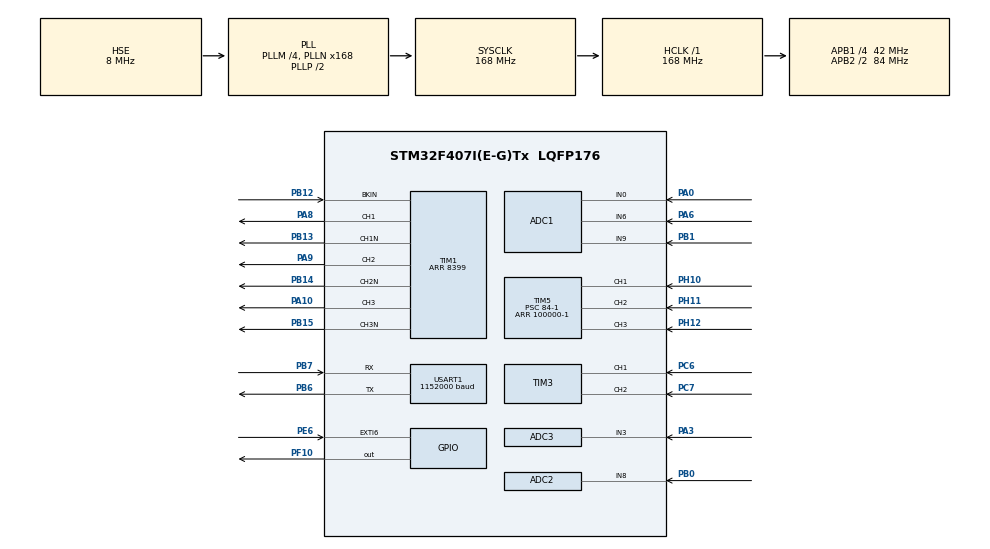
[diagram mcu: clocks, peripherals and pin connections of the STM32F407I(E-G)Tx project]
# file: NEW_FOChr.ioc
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ADC1.Channel-0\#ChannelRegularConversion=ADC_CHANNEL_0
ADC1.Channel-2\#ChannelInjectedConversion=ADC_CHANNEL_6
ADC1.Channel-3\#ChannelRegularConversion=ADC_CHANNEL_9
ADC1.ContinuousConvMode=ENABLE
ADC1.DMAContinuousRequests=ENABLE
ADC1.ExternalTrigConv=ADC_SOFTWARE_START
ADC1.ExternalTrigInjecConv=ADC_EXTERNALTRIGINJECCONV_T1_CC4
ADC1.InjNumberOfConversion=1
ADC1.InjectedOffset-2\#ChannelInjectedConversion=0
ADC1.InjectedRank-2\#ChannelInjectedConversion=1
ADC1.Mode=ADC_TRIPLEMODE_INJECSIMULT
ADC1.NbrOfConversion=2
ADC1.NbrOfConversionFlag=1
ADC1.Rank-0\#ChannelRegularConversion=1
ADC1.Rank-3\#ChannelRegularConversion=2
ADC1.SamplingTime-0\#ChannelRegularConversion=ADC_SAMPLETIME_84CYCLES
ADC1.SamplingTime-2\#ChannelInjectedConversion=ADC_SAMPLETIME_3CYCLES
ADC1.SamplingTime-3\#ChannelRegularConversion=ADC_SAMPLETIME_84CYCLES
ADC1.ScanConvMode=ENABLE
ADC1.master=1
ADC2.Channel-0\#ChannelRegularConversion=ADC_CHANNEL_8
ADC2.Channel-1\#ChannelInjectedConversion=ADC_CHANNEL_8
ADC2.InjNumberOfConversion=1
ADC2.InjectedOffset-1\#ChannelInjectedConversion=0
ADC2.InjectedRank-1\#ChannelInjectedConversion=1
ADC2.Mode=ADC_TRIPLEMODE_INJECSIMULT
ADC2.NbrOfConversionFlag=1
ADC2.Rank-0\#ChannelRegularConversion=1
ADC2.SamplingTime-0\#ChannelRegularConversion=ADC_SAMPLETIME_3CYCLES
ADC2.SamplingTime-1\#ChannelInjectedConversion=ADC_SAMPLETIME_3CYCLES
ADC2.ScanConvMode=ENABLE
ADC3.Channel-0\#ChannelRegularConversion=ADC_CHANNEL_3
ADC3.Channel-1\#ChannelInjectedConversion=ADC_CHANNEL_3
ADC3.InjNumberOfConversion=1
ADC3.InjectedOffset-1\#ChannelInjectedConversion=0
ADC3.InjectedRank-1\#ChannelInjectedConversion=1
ADC3.Mode=ADC_TRIPLEMODE_INJECSIMULT
ADC3.NbrOfConversionFlag=1
ADC3.Rank-0\#ChannelRegularConversion=1
ADC3.SamplingTime-0\#ChannelRegularConversion=ADC_SAMPLETIME_3CYCLES
ADC3.SamplingTime-1\#ChannelInjectedConversion=ADC_SAMPLETIME_3CYCLES
ADC3.ScanConvMode=ENABLE
Dma.ADC1.0.Direction=DMA_PERIPH_TO_MEMORY
Dma.ADC1.0.FIFOMode=DMA_FIFOMODE_DISABLE
Dma.ADC1.0.Instance=DMA2_Stream0
Dma.ADC1.0.MemDataAlignment=DMA_MDATAALIGN_HALFWORD
Dma.ADC1.0.MemInc=DMA_MINC_ENABLE
Dma.ADC1.0.Mode=DMA_CIRCULAR
Dma.ADC1.0.PeriphDataAlignment=DMA_PDATAALIGN_HALFWORD
Dma.ADC1.0.PeriphInc=DMA_PINC_DISABLE
Dma.ADC1.0.Priority=DMA_PRIORITY_LOW
Dma.Request0=ADC1
Mcu.Family=STM32F4
Mcu.Name=STM32F407I(E-G)Tx
Mcu.Package=LQFP176
NVIC.ADC_IRQn=true\:1\:0\:true\:false\:true\:true\:true\:true
NVIC.DMA2_Stream0_IRQn=true\:2\:0\:true\:false\:true\:false\:true\:true
NVIC.EXTI9_5_IRQn=true\:2\:0\:true\:false\:true\:true\:true\:true
NVIC.PriorityGroup=NVIC_PRIORITYGROUP_4
NVIC.TIM5_IRQn=true\:2\:0\:true\:false\:true\:true\:true\:true
PA0-WKUP.Signal=ADCx_IN0
PA10.Signal=S_TIM1_CH3
PA13.Mode=Serial_Wire
PA13.Signal=SYS_JTMS-SWDIO
PA14.Mode=Serial_Wire
PA14.Signal=SYS_JTCK-SWCLK
PA3.Signal=ADCx_IN3
PA6.Signal=ADCx_IN6
PA8.Signal=S_TIM1_CH1
PA9.Signal=S_TIM1_CH2
PB0.Signal=ADCx_IN8
PB1.Signal=ADCx_IN9
PB12.GPIO_PuPd=GPIO_PULLDOWN
PB12.Mode=Activate-Break-Input
PB12.Signal=TIM1_BKIN
PB13.Mode=PWM Generation1 CH1 CH1N
PB13.Signal=TIM1_CH1N
PB14.Mode=PWM Generation2 CH2 CH2N
PB14.Signal=TIM1_CH2N
PB15.Mode=PWM Generation3 CH3 CH3N
PB15.Signal=TIM1_CH3N
PB6.Mode=Asynchronous
PB6.Signal=USART1_TX
PB7.Mode=Asynchronous
PB7.Signal=USART1_RX
PC6.Signal=S_TIM3_CH1
PC7.Signal=S_TIM3_CH2
PE6.GPIO_PuPd=GPIO_PULLDOWN
PE6.Signal=GPXTI6
PF10.PinState=GPIO_PIN_SET
PF10.Signal=GPIO_Output
PH0-OSC_IN.Mode=HSE-External-Oscillator
PH0-OSC_IN.Signal=RCC_OSC_IN
PH1-OSC_OUT.Mode=HSE-External-Oscillator
PH1-OSC_OUT.Signal=RCC_OSC_OUT
PH10.Signal=S_TIM5_CH1
PH11.Signal=S_TIM5_CH2
PH12.Signal=S_TIM5_CH3
ProjectManager.HeapSize=0x200
ProjectManager.StackSize=0x400
ProjectManager.TargetToolchain=MDK-ARM V5.32
RCC.48MHZClocksFreq_Value=84000000
RCC.AHBFreq_Value=168000000
RCC.APB1CLKDivider=RCC_HCLK_DIV4
RCC.APB1Freq_Value=42000000
RCC.APB1TimFreq_Value=84000000
RCC.APB2CLKDivider=RCC_HCLK_DIV2
RCC.APB2Freq_Value=84000000
RCC.APB2TimFreq_Value=168000000
RCC.CortexFreq_Value=168000000
RCC.HCLKFreq_Value=168000000
RCC.HSE_VALUE=8000000
RCC.HSI_VALUE=16000000
RCC.LSE_VALUE=32768
RCC.PLLM=4
RCC.PLLN=168
RCC.PLLSourceVirtual=RCC_PLLSOURCE_HSE
RCC.SYSCLKFreq_VALUE=168000000
RCC.SYSCLKSource=RCC_SYSCLKSOURCE_PLLCLK
RCC.VCOOutputFreq_Value=336000000
SH.ADCx_IN0.0=ADC1_IN0,IN0
SH.ADCx_IN3.0=ADC3_IN3,IN3
SH.ADCx_IN6.0=ADC1_IN6,IN6
SH.ADCx_IN8.0=ADC2_IN8,IN8
SH.ADCx_IN9.0=ADC1_IN9,IN9
SH.S_TIM1_CH1.0=TIM1_CH1,PWM Generation1 CH1 CH1N
SH.S_TIM1_CH2.0=TIM1_CH2,PWM Generation2 CH2 CH2N
SH.S_TIM1_CH3.0=TIM1_CH3,PWM Generation3 CH3 CH3N
SH.S_TIM3_CH1.0=TIM3_CH1,Encoder_Interface
SH.S_TIM3_CH2.0=TIM3_CH2,Encoder_Interface
SH.S_TIM5_CH1.0=TIM5_CH1,Xored_Inputs_Hall_Sensor_Interface
SH.S_TIM5_CH2.0=TIM5_CH2,Xored_Inputs_Hall_Sensor_Interface
SH.S_TIM5_CH3.0=TIM5_CH3,Xored_Inputs_Hall_Sensor_Interface
TIM1.AutomaticOutput=TIM_AUTOMATICOUTPUT_ENABLE
TIM1.Channel-PWM\ Generation1\ CH1\ CH1N=TIM_CHANNEL_1
TIM1.Channel-PWM\ Generation2\ CH2\ CH2N=TIM_CHANNEL_2
TIM1.Channel-PWM\ Generation3\ CH3\ CH3N=TIM_CHANNEL_3
TIM1.Channel-PWM\ Generation4\ No\ Output=TIM_CHANNEL_4
TIM1.CounterMode=TIM_COUNTERMODE_CENTERALIGNED1
TIM1.DeadTime=100
TIM1.OCIdleState_1=TIM_OCIDLESTATE_RESET
TIM1.OCIdleState_2=TIM_OCIDLESTATE_RESET
TIM1.OCIdleState_3=TIM_OCIDLESTATE_RESET
TIM1.OCNIdleState_1=TIM_OCNIDLESTATE_RESET
TIM1.OCNPolarity_1=TIM_OCNPOLARITY_HIGH
TIM1.OCPolarity_1=TIM_OCPOLARITY_HIGH
TIM1.OffStateIDLEMode=TIM_OSSI_ENABLE
TIM1.OffStateRunMode=TIM_OSSR_ENABLE
TIM1.Period=8399
TIM1.Pulse-PWM\ Generation4\ No\ Output=8390
TIM3.EncoderMode=TIM_ENCODERMODE_TI12
TIM5.Period=100000-1
TIM5.Prescaler=84-1
USART1.BaudRate=1152000
USART1.VirtualMode=VM_ASYNC
VP_TIM1_VS_no_output4.Mode=PWM Generation4 No Output
board=custom

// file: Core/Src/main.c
/* USER CODE BEGIN Header */
/**
  ******************************************************************************
  * @file           : main.c
  * @brief          : Main program body
  ******************************************************************************
  * @attention
  *
  * Copyright (c) 2026 STMicroelectronics.
  * All rights reserved.
  *
  * This software is licensed under terms that can be found in the LICENSE file
  * in the root directory of this software component.
  * If no LICENSE file comes with this software, it is provided AS-IS.
  *
  ******************************************************************************
  */
/* USER CODE END Header */
#include "main.h"
#include "adc.h"
#include "dma.h"
#include "tim.h"
#include "usart.h"
#include "gpio.h"
#include "if_drag.h"
/* USER CODE BEGIN Includes */
#include "pmsm.h"
#include "encoder.h"
#include "foc.h"
#include "key.h"
#include "hall.h"
#include "pid.h"
#include "smo.h"
/* USER CODE END Includes */

/* USER CODE BEGIN PV */
uint16_t ADC_DMABuff[2];
uint8_t dir_change_req = 0;   /* KEY1换向请求标志: 1=正在减速等待换向 */
/* USER CODE END PV */

void SystemClock_Config(void);

int main(void)
{

  /* USER CODE BEGIN 1 */
	uint8_t key;
  /* USER CODE END 1 */

  /* MCU Configuration--------------------------------------------------------*/

  /* Reset of all peripherals, Initializes the Flash interface and the Systick. */
  HAL_Init();

  /* Configure the system clock */
  SystemClock_Config();

  /* Initialize all configured peripherals */
  MX_GPIO_Init();
  MX_DMA_Init();
  MX_TIM1_Init();
  MX_ADC1_Init();
  MX_ADC2_Init();
  MX_ADC3_Init();
  MX_USART1_UART_Init();
  MX_TIM5_Init();
  MX_TIM3_Init();
  /* USER CODE BEGIN 2 */

key_init();
Motor_Init();
ADC_OffsetCalib();       /* 零流标定ADC偏置: 此时CCR1-3=0无电流, TIM1已跑有CC4触发 */
Encoder_Init();
FOC_Init();	            /* 必须先初始化Udc/Tpwm, 校准的SVPWM才有效 */
IF_Drag_Start();

      /* 校准(内部停/恢复FOC中断) */
//Hall_Init();

// TIM1->CCR1 = 2000;
// TIM1->CCR4 = 8390;

  /* USER CODE END 2 */

  /* Infinite loop */
  /* USER CODE BEGIN WHILE */
  while (1)
  {
	// printf ("%f,%f,%f,%d\n",Encoder.speed, Encoder.angle,rtX.theta,Encoder.Z);
	HAL_Delay(10);
	 // printf("%f,%f,%f,%f,%f,%f,%f\r\n",rtY.Tcmp1,rtY.Tcmp2,rtY.Tcmp3,rtX.theta,I_uvw[0],I_uvw[1],I_uvw[2]);//HAL_Delay(10);
	//  printf("%f,%f,%d,%f,%f,%f\n",rtX.theta,Hall.angle,Hall.state,Hall.speed,Voltage_DQ.Vq,Hall.speed_filter);

float err_ = Encoder.angle - SMO_OUTPUT.theta_pll;
if (err_ >  PI) err_ -= 2.0f * PI;                                  /* 差出+180°以上: 实际是负的小误差 */
else if (err_< -PI) err_+= 2.0f * PI;                              /* 差出-180°以下: 实际是正的小误差 */
	  printf("%f,%f,%f,%f,%f,%f,%f,%f,%f,%f,%f\n",
 k,rtX.speed_ref, rtX.theta,Current_ref.Iq, Current_dq.Iq,
	 SMO_OUTPUT.speed ,err_* 57.2958f,
	  Encoder.angle,SMO_OUTPUT.theta_pll,Encoder.speed,SMO_OUTPUT.speed_pll);

	  key = key_scan(0);
	   if (key)
        {
            switch (key)
            {
                case KEY0_PRES:             /* ����LED0(RED)��ת */
                   //HAL_GPIO_TogglePin(GPIOF,GPIO_PIN_10);
				rtX.speed_ref += 200.0f;
					//rtX.angle_ref =0.0f;
                    break;

                case KEY1_PRES:
					rtX.speed_ref -= 100.0f;
					//rtX.angle_ref -=20.0f;
                      //rtX.speed_ref = 0.0f;
						//else if(rtX.speed_ref < 0 ){rtX.speed_ref *=(-1) ;}
                    break;

                case KEY2_PRES:             /* ͬʱ����LED0, LED1��ת */
					rtX.speed_ref -=50.0f;
                         // if(rtX.speed_ref > 0.0f) rtX.speed_ref+=10.0f;  /* 正数域, 不减到负 */
                    break;
                default : break;
            }
        }
        else
        {
            //delay_ms(10);
        }

    /* 换向状态机: 电机停稳(或引信已判停)后才翻向, 并重走开环拖动 */
    if (dir_change_req && (Hall.speed < 20.0f || Hall.stall))
    {
        dir_change_req   = 0;
        rtX.Dir          = (rtX.Dir == CW) ? CCW : CW;  /* 现在才翻向 */
        rtX.speed_ref    = 500;                         /* 恢复幅值给定 */
        Current_ref.Iq   = 1.0f;                        /* 开环拖动转矩, 不能为0 */
        Speed_PID.I_sum  = 0.0f;                        /* 清刹车期间积下的积分 */
        cnt              = 0;                           /* 重走开环拖动(1s) */
        Hall.stall       = 0;                           /* 解除引信, 允许重拖 */
        Hall.stall_cnt   = 0;
        Hall.edge_timeout= 0;
    }
    /* USER CODE END WHILE */

  }
}

void SystemClock_Config(void)
{
  RCC_OscInitTypeDef RCC_OscInitStruct = {0};
  RCC_ClkInitTypeDef RCC_ClkInitStruct = {0};

  /** Configure the main internal regulator output voltage
  */
  __HAL_RCC_PWR_CLK_ENABLE();
  __HAL_PWR_VOLTAGESCALING_CONFIG(PWR_REGULATOR_VOLTAGE_SCALE1);

  /** Initializes the RCC Oscillators according to the specified parameters
  * in the RCC_OscInitTypeDef structure.
  */
  RCC_OscInitStruct.OscillatorType = RCC_OSCILLATORTYPE_HSE;
  RCC_OscInitStruct.HSEState = RCC_HSE_ON;
  RCC_OscInitStruct.PLL.PLLState = RCC_PLL_ON;
  RCC_OscInitStruct.PLL.PLLSource = RCC_PLLSOURCE_HSE;
  RCC_OscInitStruct.PLL.PLLM = 4;
  RCC_OscInitStruct.PLL.PLLN = 168;
  RCC_OscInitStruct.PLL.PLLP = RCC_PLLP_DIV2;
  RCC_OscInitStruct.PLL.PLLQ = 4;
  if (HAL_RCC_OscConfig(&RCC_OscInitStruct) != HAL_OK)
  {
    Error_Handler();
  }

  /** Initializes the CPU, AHB and APB buses clocks
  */
  RCC_ClkInitStruct.ClockType = RCC_CLOCKTYPE_HCLK|RCC_CLOCKTYPE_SYSCLK
                              |RCC_CLOCKTYPE_PCLK1|RCC_CLOCKTYPE_PCLK2;
  RCC_ClkInitStruct.SYSCLKSource = RCC_SYSCLKSOURCE_PLLCLK;
  RCC_ClkInitStruct.AHBCLKDivider = RCC_SYSCLK_DIV1;
  RCC_ClkInitStruct.APB1CLKDivider = RCC_HCLK_DIV4;
  RCC_ClkInitStruct.APB2CLKDivider = RCC_HCLK_DIV2;

  if (HAL_RCC_ClockConfig(&RCC_ClkInitStruct, FLASH_LATENCY_5) != HAL_OK)
  {
    Error_Handler();
  }
}

void Error_Handler(void)
{
  __disable_irq();
  while (1)
  {
  }
}
